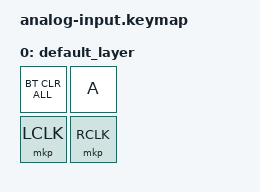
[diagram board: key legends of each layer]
#include <behaviors.dtsi>
#include <dt-bindings/zmk/keys.h>
#include <dt-bindings/zmk/bt.h>
#include <dt-bindings/zmk/mouse.h>

/ {
    keymap {
        compatible = "zmk,keymap";

        default_layer {
            bindings = <
                &bt BT_CLR_ALL &kp A
                &mkp LCLK &mkp RCLK
            >;
        };
    };
 };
